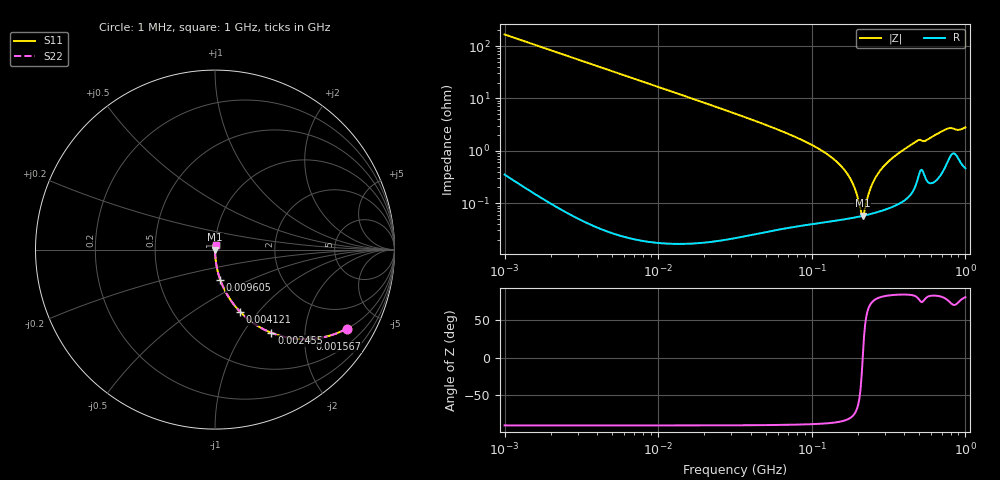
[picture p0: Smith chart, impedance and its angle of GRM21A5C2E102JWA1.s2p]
!Murata Part Number: GRM21A5C2E102JWA1
!These Parameters are Measured in Series Mode Connection
!Data Generated on Mar 30, 2021
!  o--ll--o
!Port1  Port2
!  o------o
!Operation Temp=25[degC], DC Bias Voltage=0[V]
!Freq. Start=1000[kHz] Stop=1000[MHz] 401[Steps]
# Hz S RI R 50
!Freq.(Hz) S11(Real) S11(Imag) S21(Real) S21(Imag) S12(Real) S12(Imag) S22(Real) S22(Imag)
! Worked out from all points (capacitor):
!   401 points, 1 MHz to 1 GHz, reference 50 ohm
!   read as one part in series: C = 958 pF near 1.035 MHz
!   lowest |Z| = 57.3 mohm at 215 MHz (marker M1)
!   series resonance near 214.5 MHz, so ESL is about 570 pH
!   S11 on the Smith chart (normalised r, x): 1 MHz: 1.01, -3.32; 1.567 MHz: 1.00, -2.12; 2.455 MHz: 1.00, -1.35; 4.121 MHz: 1.00, -0.81; 9.605 MHz: 1.00, -0.35; 1 GHz: 1.01, +0.06
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1000000  0.7335 -0.4411  0.2665 0.4411  0.2665 0.4411  0.7335 -0.4411
1566751  0.5291 -0.4984  0.4709 0.4984  0.4709 0.4984  0.5291 -0.4984
2454709  0.3142 -0.4637  0.6858 0.4637  0.6858 0.4637  0.3142 -0.4637
3180534  0.2144 -0.41  0.7856 0.41  0.7856 0.41  0.2144 -0.41
4120975  0.1399 -0.3464  0.8601 0.3464  0.8601 0.3464  0.1399 -0.3464
9605058  0.0291 -0.1675  0.9709 0.1675  0.9709 0.1675  0.0291 -0.1675
1.01158e7  0.0263 -0.1595  0.9737 0.1595  0.9737 0.1595  0.0263 -0.1595
3.162278e7  0.00283 -0.0511  0.9972 0.0511  0.9972 0.0511  0.00283 -0.0511
1.005773e8  0.00056 -0.0128  0.9994 0.0128  0.9994 0.0128  0.00056 -0.0128
1.348963e8  0.000504 -0.0074  0.9995 0.0074  0.9995 0.0074  0.000504 -0.0074
1.659587e8  0.00051 -0.004  0.9995 0.004  0.9995 0.004  0.00051 -0.004
1.872837e8  0.00053 -0.0021  0.9995 0.0021  0.9995 0.0021  0.00053 -0.0021
2.077304e8  0.000559 -0.000494  0.9994 0.000494  0.9994 0.000494  0.000559 -0.000494
2.150305e8  0.000571 3.92e-05  0.9994 -3.92e-05  0.9994 -3.92e-05  0.000571 3.92e-05
2.225871e8  0.000585 0.000573  0.9994 -0.000573  0.9994 -0.000573  0.000585 0.000573
2.385064e8  0.000616 0.00165  0.9994 -0.00165  0.9994 -0.00165  0.000616 0.00165
2.555642e8  0.000654 0.00273  0.9993 -0.00273  0.9993 -0.00273  0.000654 0.00273
3.198895e8  0.000843 0.00641  0.9992 -0.00641  0.9992 -0.00641  0.000843 0.00641
4.841724e8  0.00281 0.0152  0.9972 -0.0152  0.9972 -0.0152  0.00281 0.0152
5.559043e8  0.00303 0.0155  0.997 -0.0155  0.997 -0.0155  0.00303 0.0155
7.717915e8  0.00704 0.0255  0.993 -0.0255  0.993 -0.0255  0.00704 0.0255
1e9  0.00535 0.0272  0.9947 -0.0272  0.9947 -0.0272  0.00535 0.0272
